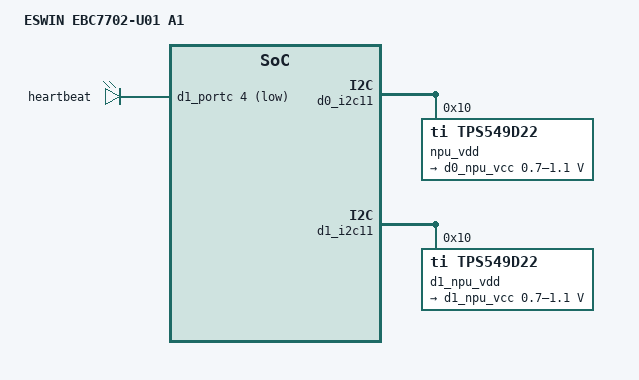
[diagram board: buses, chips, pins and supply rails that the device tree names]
// SPDX-License-Identifier: GPL-2.0
/*
 * Device Tree file for Eswin EIC7700 SoC.
 *
 * Copyright 2024, Beijing ESWIN Computing Technology Co., Ltd.. All rights reserved.
 * SPDX-License-Identifier: GPL-2.0
 *
 * This program is free software: you can redistribute it and/or modify
 * it under the terms of the GNU General Public License as published by
 * the Free Software Foundation, version 2.
 *
 * This program is distributed in the hope that it will be useful,
 * but WITHOUT ANY WARRANTY; without even the implied warranty of
 * MERCHANTABILITY or FITNESS FOR A PARTICULAR PURPOSE.  See the
 * GNU General Public License for more details.
 *
 * You should have received a copy of the GNU General Public License
 * along with this program.  If not, see <https://www.gnu.org/licenses/>.
 */

/dts-v1/;

#include "ebc7702-u01-pcie.dtsi"

/ {
	model = "ESWIN EBC7702-U01 A1";

	/* die1 gpio68 system led */
	leds {
		compatible = "gpio-leds";
		pinctrl-names = "default";
		pinctrl-0 = <&pinctrl_die1_gpio68_default>;

		gpio-68 {
			gpios = <&d1_portc 4 GPIO_ACTIVE_LOW>;
			label = "heartbeat";
			linux,default-trigger = "heartbeat";
		};
	};

};

&d0_i2c11 {
	/* d0 npu pmic */
	status = "okay";
	tps549d22@10 {
		compatible = "ti,tps549d22";
		reg = <0x10>;
		eswin,regulator_default-microvolt=<1000000>;
		eswin,regulator_label = "Supply VDD", "D0 NPU Voltage";
		label = "npu_vdd";
		regulators{
			d0_npu_vcc:npu_svcc{
				regulator-name="D0_NPU_SVCC";
				regulator-min-microvolt=<700000>;
				regulator-max-microvolt=<1100000>;
				regulator-min-microamp=<20000000>;
				regulator-max-microamp=<40000000>;
				regulator-ov-protection-microvolt=<1100000>;
			};
		};
	};
};

&d1_i2c11 {
	/* d1 npu pmic */
	status = "okay";
	tps549d22@10 {
		compatible = "ti,tps549d22";
		reg = <0x10>;
		eswin,regulator_default-microvolt=<1000000>;
		eswin,regulator_label = "Supply VDD1", "D1 NPU Voltage";
		label = "d1_npu_vdd";
		regulators{
			d1_npu_vcc:npu_svcc{
				regulator-name="D1_NPU_SVCC";
				regulator-min-microvolt=<700000>;
				regulator-max-microvolt=<1100000>;
				regulator-min-microamp=<20000000>;
				regulator-max-microamp=<40000000>;
				regulator-ov-protection-microvolt=<1100000>;
			};
		};
	};
};
